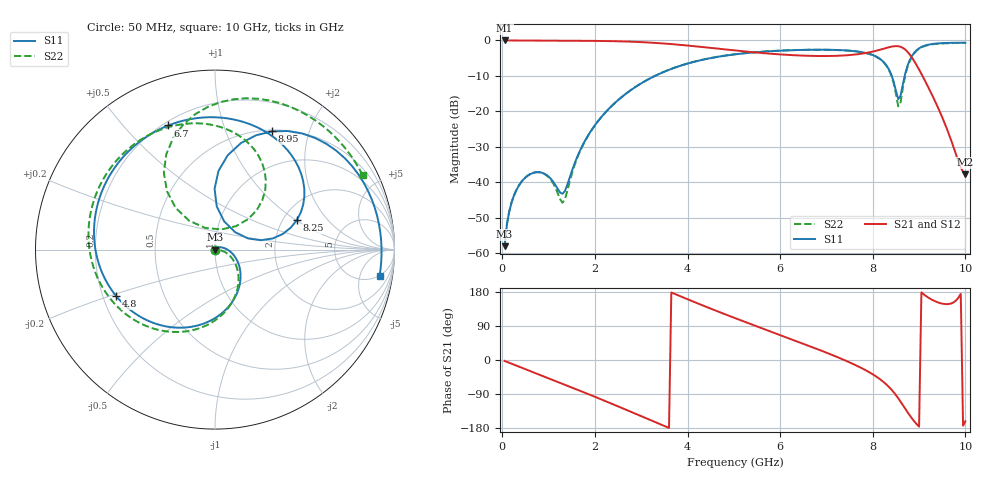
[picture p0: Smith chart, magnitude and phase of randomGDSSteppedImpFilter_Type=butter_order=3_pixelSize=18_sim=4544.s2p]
! freq	dB(S11)	phase(S11)	dB(S12)	phase(S12)
!  dB(S21)	phase(S21)	dB(S22)	phase(S22)
!S-par simulation data
#  GHz  S  DB  R 50
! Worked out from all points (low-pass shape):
!   200 points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, 50 MHz to 10 GHz, reference 50 ohm
!   highest |S21| = 0.00 dB at 50 MHz (marker M1); lowest = -37.7 dB at 10 GHz (marker M2)
!   |S21| within 3 dB of the highest: start of sweep to 5.162 GHz; 8.046 GHz to 8.735 GHz (689.3 MHz wide, 8.22 % of centre)
!   lowest |S11| = -58.0 dB at 50 MHz (marker M3), VSWR 1.00, Z = 50 - j0.125 ohm
!   |S11| at or under -10 dB: start of sweep to 3.298 GHz; 8.409 GHz to 8.69 GHz (280.9 MHz wide, 3.29 % of centre)
!   |S22| runs from -58.0 to -0.7 dB; largest |S21 - S12| = 0
!   S11 on the Smith chart (normalised r, x): 50 MHz: 1.00, -0.00; 4.8 GHz: 0.26, -0.21; 6.7 GHz: 0.22, +0.67; 8.25 GHz: 2.37, +1.01; 8.95 GHz: 0.52, +1.47; 10 GHz: 5, -10
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0.05  -58.03 -91.3  -0.00 -2.5  -0.00 -2.5  -58.00 -90.4
0.15  -48.26 -95.9  -0.01 -7.3  -0.01 -7.3  -48.23 -93.1
0.4  -40.13 -111.9  -0.03 -19.3  -0.03 -19.3  -40.09 -104.1
0.9  -37.53 -148.9  -0.05 -43.3  -0.05 -43.3  -37.61 -121.1
1.3  -43.26 123.8  -0.07 -62.6  -0.07 -62.6  -45.78 -72.3
1.75  -29.17 21.9  -0.10 -84.7  -0.10 -84.7  -29.32 -8.1
2.5  -16.83 -28.4  -0.24 -122.4  -0.24 -122.4  -16.82 -36.4
3.4  -9.38 -79.8  -0.78 -168.9  -0.78 -168.9  -9.35 -78.8
4.1  -6.17 -118.1  -1.56 155.3  -1.56 155.3  -6.13 -111.9
4.8  -4.32 -154.7  -2.52 121.2  -2.52 121.2  -4.28 -143.3
5.05  -3.88 -167.3  -2.86 109.4  -2.86 109.4  -3.85 -154.1
5.85  -2.99 153.0  -3.80 72.7  -3.80 72.7  -2.96 172.6
6.7  -2.63 110.7  -4.37 33.7  -4.37 33.7  -2.62 137.2
7.6  -3.01 62.8  -4.00 -11.9  -4.00 -11.9  -3.04 95.4
8.25  -6.30 19.8  -2.28 -59.9  -2.28 -59.9  -6.39 53.8
8.35  -8.21 13.0  -1.92 -71.3  -1.92 -71.3  -8.36 46.3
8.55  -16.56 40.5  -1.64 -100.9  -1.64 -100.9  -18.57 72.2
8.75  -7.16 87.5  -3.19 -137.6  -3.19 -137.6  -7.51 129.5
8.95  -2.71 64.2  -7.04 -169.5  -7.04 -169.5  -2.87 104.3
9.15  -1.35 43.5  -11.94 168.7  -11.94 168.7  -1.47 82.8
9.4  -0.83 24.2  -18.70 152.3  -18.70 152.3  -0.93 62.6
10  -0.64 -9.2  -37.72 -161.5  -37.72 -161.5  -0.71 26.7
